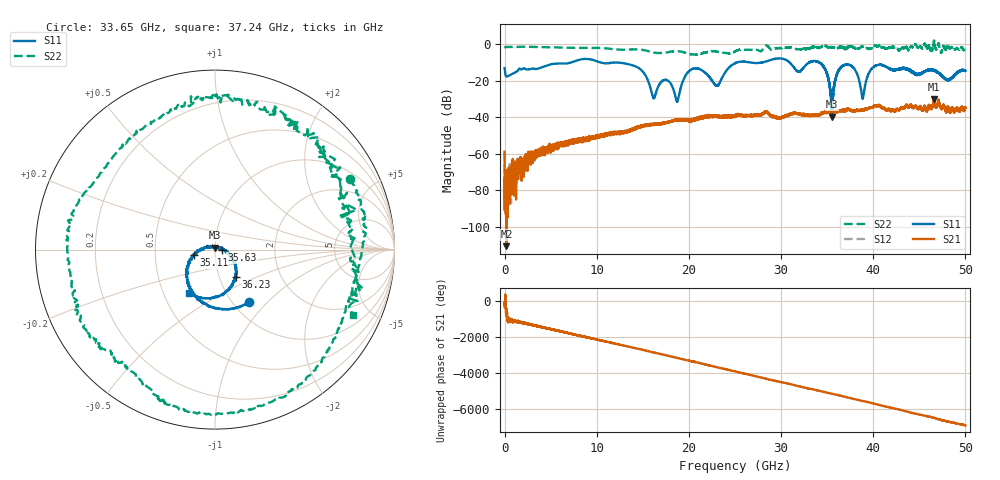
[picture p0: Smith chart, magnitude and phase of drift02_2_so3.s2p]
!Created with skrf (http://scikit-rf.org).
# Hz S RI R 50.0
!freq ReS11 ImS11 ReS21 ImS21 ReS12 ImS12 ReS22 ImS22
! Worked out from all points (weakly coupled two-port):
!   10001 points, 300 kHz to 50 GHz, reference 50 ohm
!   highest |S21| = -30.17 dB at 46.61 GHz (marker M1); lowest = -110.5 dB at 195.3 MHz (marker M2)
!   lowest |S11| = -39.6 dB at 35.51 GHz (marker M3), VSWR 1.02, Z = 50 + j1.05 ohm
!   |S11| at or under -10 dB: start of sweep to 7.177 GHz; 12.28 GHz to 25.17 GHz (12.89 GHz wide, 68.8 % of centre); 34.2 GHz to end of sweep (the widest 3 of 23)
!   |S22| runs from -5.7 to 2.1 dB; largest |S21 - S12| = 0.0043
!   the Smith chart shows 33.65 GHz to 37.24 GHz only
!   S11 on the Smith chart (normalised r, x): 33.65 GHz: 1.19, -0.79; 35.11 GHz: 0.79, -0.05; 35.63 GHz: 1.08, -0.01; 36.23 GHz: 1.20, -0.39; 37.24 GHz: 0.68, -0.35
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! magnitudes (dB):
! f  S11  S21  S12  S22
! 300 kHz  -13.1  -58.8  -59.0  -2.1
! 195.3 MHz  -17.6  -110.5  -76.1  -1.4
! 8.335 GHz  -8.2  -52.3  -53.0  -1.9
! 14.01 GHz  -11.7  -46.4  -46.6  -2.8
! 16.14 GHz  -29.2  -43.5  -43.9  -4.4
! 16.67 GHz  -23.2  -43.7  -43.7  -4.8
! 18.73 GHz  -31.4  -41.7  -41.4  -3.8
! 20.24 GHz  -13.8  -41.2  -41.8  -5.4
! 23.03 GHz  -22.7  -39.3  -39.7  -4.0
! 25 GHz  -10.3  -39.0  -39.0  -3.9
! 33.34 GHz  -9.3  -39.1  -38.5  -1.6
! 33.65 GHz  -9.1  -39.1  -38.6  -1.4
! 35.11 GHz  -18.3  -37.3  -37.5  -1.8
! 35.51 GHz  -39.6  -37.1  -36.9  -1.8
! 35.63 GHz  -28.6  -36.9  -36.7  -1.6
! 36.23 GHz  -14.2  -36.8  -36.7  -1.9
! 37.24 GHz  -11.1  -35.5  -35.6  -1.4
! 38.86 GHz  -29.6  -36.2  -36.0  -1.3
! 39.94 GHz  -12.8  -34.5  -34.5  -1.9
! 41.67 GHz  -13.1  -35.5  -35.6  -1.8
! 46.61 GHz  -14.2  -30.2  -30.0  2.1
! 50 GHz  -14.5  -34.6  -34.5  -2.6
